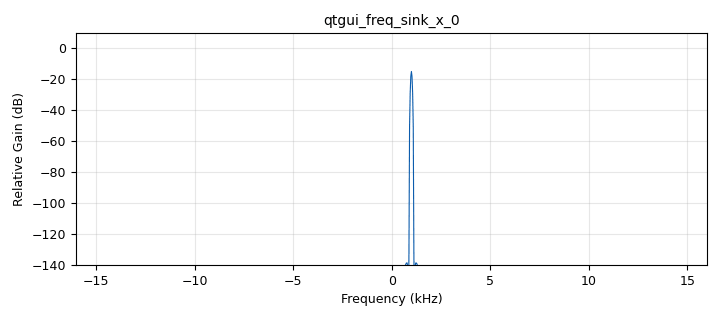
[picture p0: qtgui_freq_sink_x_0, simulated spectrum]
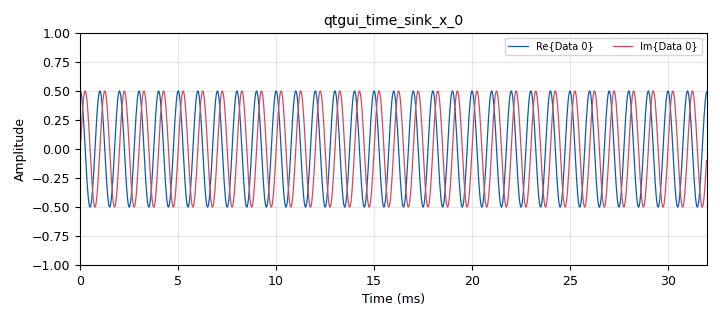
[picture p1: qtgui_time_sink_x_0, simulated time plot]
options:
  parameters:
    author: sm_ar
    generate_options: qt_gui
    id: Lesson2_01
    output_language: python
    title: Not titled yet
  states: {}

blocks:
- name: samp_rate
  id: variable
  parameters:
    value: '32000'
  states: {}
- name: signal_freq
  id: variable_qtgui_range
  parameters:
    start: '100'
    step: '100'
    stop: 10e3
    value: 1e3
  states: {}
- name: signal_gain
  id: variable_qtgui_range
  parameters:
    start: '0'
    step: '0.1'
    stop: '2'
    value: '0.5'
  states: {}
- name: analog_sig_source_x_0
  id: analog_sig_source_x
  parameters:
    amp: signal_gain
    freq: signal_freq
    offset: '0'
    phase: '0'
    samp_rate: samp_rate
    type: complex
    waveform: analog.GR_COS_WAVE
  states: {}
- name: blocks_throttle2_0
  id: blocks_throttle2
  parameters:
    samples_per_second: samp_rate
    type: complex
  states: {}
- name: qtgui_freq_sink_x_0
  id: qtgui_freq_sink_x
  parameters:
    bw: samp_rate
    fc: '0'
    fftsize: '1024'
    type: complex
  states: {}
- name: qtgui_time_sink_x_0
  id: qtgui_time_sink_x
  parameters:
    size: '1024'
    srate: samp_rate
    type: complex
  states: {}

connections:
- [analog_sig_source_x_0, '0', blocks_throttle2_0, '0']
- [blocks_throttle2_0, '0', qtgui_freq_sink_x_0, '0']
- [blocks_throttle2_0, '0', qtgui_time_sink_x_0, '0']

metadata:
  file_format: 1
  grc_version: 3.10.6.0
